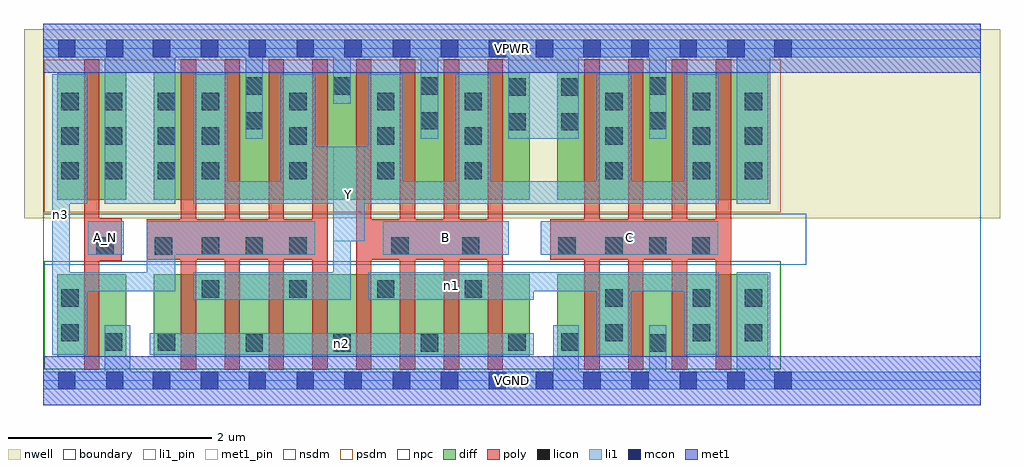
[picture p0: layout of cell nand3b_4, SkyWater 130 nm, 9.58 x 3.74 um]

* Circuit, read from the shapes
.subckt nand3b_4 A_N B C VGND VPWR Y n1 n2 n3
XM1 VGND A_N n3 VSUBS sky130_fd_pr__nfet_01v8 w=0.81 l=0.15
XM2 Y n3 n2 VSUBS sky130_fd_pr__nfet_01v8 w=0.81 l=0.15 m=4
XM3 n1 B n2 VSUBS sky130_fd_pr__nfet_01v8 w=0.81 l=0.15 m=4
XM4 n1 C VGND VSUBS sky130_fd_pr__nfet_01v8 w=0.81 l=0.15 m=4
XM5 VPWR A_N n3 n4 sky130_fd_pr__pfet_01v8 w=1.25 l=0.15
XM6 Y n3 VPWR n4 sky130_fd_pr__pfet_01v8 w=1.25 l=0.15 m=4
XM7 Y B VPWR n4 sky130_fd_pr__pfet_01v8 w=1.25 l=0.15 m=4
XM8 Y C VPWR n4 sky130_fd_pr__pfet_01v8 w=1.25 l=0.15 m=4
.ends

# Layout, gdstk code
import gdstk
lib = gdstk.Library(unit=1e-6, precision=1e-09)
def R(c, l, rs):  # rectangles x0, y0, x1, y1
    for r in rs: c.add(gdstk.rectangle(r[:2], r[2:], *l))
def A(c, l, x, y, w, h, nx, ny, dx, dy):  # array of equal rectangles
    R(c, l, [(x+i*dx, y+j*dy, x+i*dx+w, y+j*dy+h) for i in range(nx) for j in range(ny)])
nwell = (64, 20)
diff = (65, 20)
poly = (66, 20)
licon = (66, 44)
li1_pin = (67, 16)
li1 = (67, 20)
mcon = (67, 44)
met1_pin = (68, 16)
met1 = (68, 20)
nsdm = (93, 44)
psdm = (94, 20)
npc = (95, 20)
boundary = (235, 4)

nand3b_4 = lib.new_cell('nand3b_4')
R(nand3b_4, nwell, [(-0.19,1.595,9.39,3.45), (0,1.595,9.2,3.45)])
R(nand3b_4, diff, [(0.135,0.235,0.815,1.045), (1.085,0.235,4.775,1.045), (5.045,0.235,7.115,1.045), (0.135,1.775,0.815,3.025), (1.085,1.775,4.775,3.025), (5.045,1.775,7.115,3.025)])
A(nand3b_4, poly, 1.35, 0.105, 0.15, 3.05, 8, 1, 0.43, 0)
A(nand3b_4, poly, 5.31, 0.105, 0.15, 3.05, 4, 1, 0.43, 0)
R(nand3b_4, poly, [(0.4,0.105,0.55,3.155), (0.4,1.175,0.77,1.595), (1.015,1.185,2.79,1.585), (3.07,1.185,4.51,1.585), (4.975,1.185,6.75,1.585)])
A(nand3b_4, licon, 1.985, 0.285, 0.17, 0.17, 3, 2, 0.86, 2.52)
A(nand3b_4, licon, 1.555, 0.815, 0.17, 0.17, 4, 2, 0.86, 1.16)
A(nand3b_4, licon, 1.555, 1.235, 0.17, 0.17, 3, 1, 0.43, 0)
A(nand3b_4, licon, 0.175, 1.975, 0.17, 0.17, 1, 3, 0, 0.34)
A(nand3b_4, licon, 0.605, 1.975, 0.17, 0.17, 1, 3, 0, 0.34)
A(nand3b_4, licon, 1.125, 1.975, 0.17, 0.17, 1, 3, 0, 0.34)
A(nand3b_4, licon, 5.515, 1.975, 0.17, 0.17, 1, 3, 0, 0.34)
A(nand3b_4, licon, 6.375, 1.975, 0.17, 0.17, 1, 3, 0, 0.34)
A(nand3b_4, licon, 6.885, 1.975, 0.17, 0.17, 1, 3, 0, 0.34)
A(nand3b_4, licon, 1.555, 2.315, 0.17, 0.17, 4, 2, 0.86, 0.34)
R(nand3b_4, licon, [(5.945,0.285,6.115,0.455), (0.605,0.295,0.775,0.465), (1.125,0.295,1.295,0.465), (4.565,0.295,4.735,0.465), (5.085,0.295,5.255,0.465), (0.175,0.385,0.345,0.555), (5.515,0.385,5.685,0.555), (6.375,0.385,6.545,0.555), (6.885,0.385,7.055,0.555), (0.175,0.725,0.345,0.895), (5.515,0.725,5.685,0.895), (6.375,0.725,6.545,0.895), (6.885,0.725,7.055,0.895), (0.52,1.235,0.69,1.405), (1.095,1.235,1.265,1.405), (3.415,1.235,3.585,1.405), (4.11,1.235,4.28,1.405), (5.055,1.235,5.225,1.405), (5.515,1.235,5.685,1.405), (5.945,1.235,6.115,1.405), (6.37,1.235,6.54,1.405), (4.565,2.455,4.735,2.625), (5.085,2.455,5.255,2.625), (1.985,2.465,2.155,2.635), (3.705,2.465,3.875,2.635), (5.945,2.465,6.115,2.635), (4.565,2.795,4.735,2.965), (5.085,2.795,5.255,2.965), (5.945,2.805,6.115,2.975)])
R(nand3b_4, li1_pin, [(0.435,1.235,0.79,1.565), (3.33,1.235,4.57,1.565), (4.88,1.235,6.625,1.565), (2.845,1.365,3.155,2.295)])
A(nand3b_4, li1, 1.47, 1.735, 0.34, 1.27, 4, 1, 0.86, 0)
R(nand3b_4, li1, [(0,-0.085,9.2,0.085), (0.605,-0.085,0.855,0.545), (5.005,-0.085,5.255,0.545), (5.945,-0.085,6.115,0.545), (6.805,-0.085,7.135,1.065), (0.085,0.255,0.26,3.005), (0.085,0.255,0.43,1.065), (1.045,0.255,4.815,0.465), (5.43,0.255,5.77,1.065), (6.29,0.255,6.63,1.065), (1.47,0.795,3.015,1.065), (2.845,0.795,3.015,2.295), (3.19,0.795,4.815,1.065), (0.085,0.875,1.295,1.065), (1.015,0.875,1.295,1.565), (3.19,0.875,6.63,1.065), (0.435,1.235,0.79,1.565), (1.015,1.235,2.67,1.565), (3.33,1.235,4.57,1.565), (4.88,1.235,6.625,1.565), (2.845,1.365,3.155,2.295), (0.085,1.735,0.43,3.005), (0.605,1.735,1.295,3.345), (1.47,1.735,6.63,1.955), (2.33,1.735,3.53,2.295), (5.43,1.735,5.77,3.005), (6.29,1.735,6.63,3.005), (6.805,1.735,7.135,3.345), (1.985,2.375,2.155,3.345), (3.705,2.375,3.875,3.345), (4.565,2.375,5.255,3.345), (5.945,2.375,6.115,3.345), (2.845,2.715,3.015,3.345), (0,3.175,9.2,3.345)])
A(nand3b_4, mcon, 1.075, -0.085, 0.17, 0.17, 5, 2, 0.47, 3.26)
A(nand3b_4, mcon, 3.43, -0.085, 0.17, 0.17, 3, 2, 0.47, 3.26)
R(nand3b_4, mcon, [(0.145,-0.085,0.315,0.085), (0.615,-0.085,0.785,0.085), (4.835,-0.085,5.005,0.085), (5.3,-0.085,5.47,0.085), (5.77,-0.085,5.94,0.085), (6.245,-0.085,6.415,0.085), (6.715,-0.085,6.885,0.085), (7.175,-0.085,7.345,0.085), (0.145,3.175,0.315,3.345), (0.615,3.175,0.785,3.345), (4.835,3.175,5.005,3.345), (5.3,3.175,5.47,3.345), (5.77,3.175,5.94,3.345), (6.245,3.175,6.415,3.345), (6.715,3.175,6.885,3.345), (7.175,3.175,7.345,3.345)])
R(nand3b_4, met1_pin, [(0,-0.24,9.2,0.24), (0,3.02,9.2,3.5)])
R(nand3b_4, met1, [(0,-0.24,9.2,0.24), (0,3.02,9.2,3.5)])
R(nand3b_4, nsdm, [(0.01,0.11,7.24,1.17)])
R(nand3b_4, psdm, [(0.01,1.65,7.24,3.15)])
R(nand3b_4, npc, [(0,1.135,7.49,1.635)])
R(nand3b_4, boundary, [(0,0,9.2,3.26)])
nand3b_4.add(gdstk.Label('A_N', (0.612,1.4), layer=67, texttype=5))
nand3b_4.add(gdstk.Label('B', (3.95,1.4), layer=67, texttype=5))
nand3b_4.add(gdstk.Label('C', (5.752,1.4), layer=67, texttype=5))
nand3b_4.add(gdstk.Label('Y', (3,1.83), layer=67, texttype=5))
nand3b_4.add(gdstk.Label('n2', (2.93,0.36), layer=67, texttype=5))
nand3b_4.add(gdstk.Label('n1', (4.002,0.93), layer=67, texttype=5))
nand3b_4.add(gdstk.Label('n3', (0.172,1.63), layer=67, texttype=5))
nand3b_4.add(gdstk.Label('VPWR', (4.6,3.26), layer=68, texttype=5))
nand3b_4.add(gdstk.Label('VGND', (4.6,0), layer=68, texttype=5))
nand3b_4.add(gdstk.Label('A_N', (0.612,1.4), layer=67, texttype=16))
nand3b_4.add(gdstk.Label('B', (3.95,1.4), layer=67, texttype=16))
nand3b_4.add(gdstk.Label('C', (5.752,1.4), layer=67, texttype=16))
nand3b_4.add(gdstk.Label('Y', (3,1.83), layer=67, texttype=16))
nand3b_4.add(gdstk.Label('VPWR', (4.6,3.26), layer=68, texttype=16))
nand3b_4.add(gdstk.Label('VGND', (4.6,0), layer=68, texttype=16))

lib.write_gds('nand3b_4.gds')
